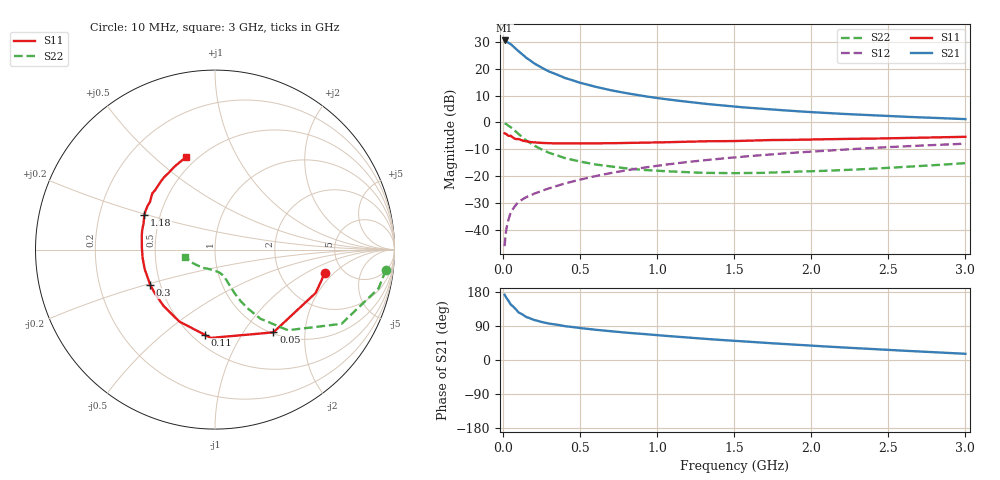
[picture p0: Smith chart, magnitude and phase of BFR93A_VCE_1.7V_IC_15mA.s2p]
! Infineon Technologies  Discrete & RF Semiconductors
! BFR93A
! VCE =  1.7 V,  IC =  15 mA
! Common Emitter S-Parameters:  Nov 2015
# GHz  S  MA  R  50
!  f  S11  S21  S12  S22
! GHz  MAG  ANG  MAG  ANG  MAG  ANG  MAG  ANG
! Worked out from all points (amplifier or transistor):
!   180 points, 10 MHz to 3 GHz, reference 50 ohm
!   highest |S21| = 30.6 dB at 10 MHz (marker M1)
!   |S21| within 3 dB of that: start of sweep to 80.35 MHz
!   unconditionally stable (mu >= 1): 453.6 MHz to end of sweep
!   at 160 MHz: K = 0.64, MSG = 25.7 dB, |S12| = -27.6 dB
!   at 1.22 GHz: K = 1.09, MAG = 9.3 dB, |S12| = -14.6 dB
!   at 3 GHz: K = 1.01, MAG = 4.0 dB, |S12| = -7.9 dB
!   S11 on the Smith chart (normalised r, x): 10 MHz: 3.65, -1.55; 50 MHz: 1.02, -1.38; 110 MHz: 0.57, -0.70; 300 MHz: 0.44, -0.21; 1.18 GHz: 0.41, +0.19; 3 GHz: 0.44, +0.64
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0.01  0.6262 -11.9  33.93 172.3  0.0049 83.9  0.959 -6.8
0.02  0.6106 -23.3  33.1 165.0  0.0096 78.7  0.9361 -13.4
0.05  0.5642 -54.8  28.98 146.1  0.021 68.3  0.8172 -30.4
0.1  0.4925 -92.7  21.45 125.6  0.0329 58.8  0.6066 -47.8
0.11  0.4773 -97.0  20.33 123.7  0.0344 58.2  0.5768 -49.2
0.15  0.4474 -116.4  16.16 113.4  0.0402 56.3  0.4623 -56.6
0.2  0.4253 -132.2  12.78 105.8  0.0465 57.0  0.372 -61.1
0.24  0.4157 -141.3  10.95 101.4  0.0515 58.0  0.3239 -63.3
0.26  0.4136 -145.1  10.18 99.4  0.054 58.5  0.3036 -64.2
0.3  0.4109 -151.3  8.892 96.0  0.059 59.5  0.2703 -65.6
0.4  0.4065 -164.1  6.784 89.4  0.0722 61.8  0.2166 -67.8
0.5  0.406 -173.4  5.504 84.2  0.0855 63.0  0.1858 -69.1
0.52  0.4058 -174.8  5.326 83.4  0.0883 63.2  0.1815 -69.4
0.6  0.4074 179.8  4.627 79.8  0.0995 63.7  0.1642 -70.9
0.7  0.4094 174.3  3.99 75.8  0.1137 63.7  0.1501 -73.0
0.88  0.4189 165.7  3.217 69.6  0.1387 63.0  0.1322 -78.2
1.02  0.4243 159.7  2.805 64.9  0.158 62.0  0.1245 -82.7
1.18  0.4374 154.1  2.462 59.9  0.1801 60.7  0.118 -89.6
1.52  0.4509 143.2  1.95 50.0  0.225 57.0  0.1132 -105.3
2.02  0.4819 129.8  1.547 37.4  0.288 51.0  0.1231 -127.5
2.52  0.507 118.3  1.309 26.3  0.3486 44.2  0.1431 -147.7
3  0.5393 107.6  1.154 16.4  0.4017 37.5  0.1741 -167.0
